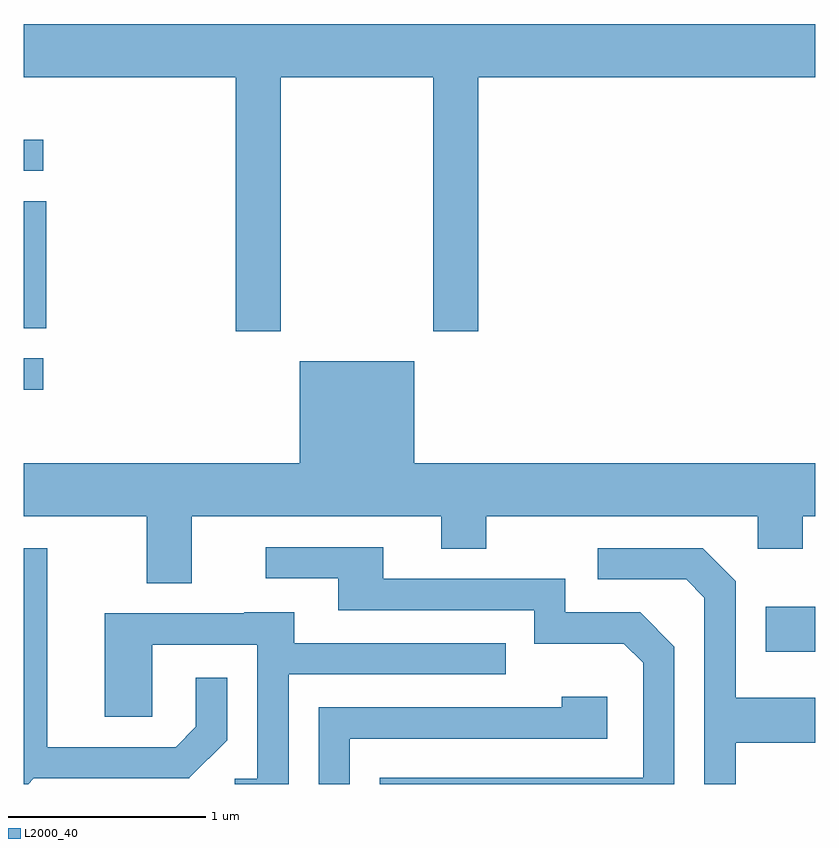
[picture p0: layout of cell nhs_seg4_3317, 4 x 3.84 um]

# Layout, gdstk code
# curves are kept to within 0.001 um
import gdstk
lib = gdstk.Library(unit=1e-6, precision=1e-09)
def R(c, l, rs):  # rectangles x0, y0, x1, y1
    for r in rs: c.add(gdstk.rectangle(r[:2], r[2:], *l))
def P(c, l, *ps):  # polygons
    for p in ps: c.add(gdstk.Polygon(p, *l))
L2000_40 = (2000, 40)

nhs_seg4_3317 = lib.new_cell('nhs_seg4_3317')
R(nhs_seg4_3317, L2000_40, [(285.361,1360.651,285.611,1360.879), (281.611,1361.976,281.708,1362.134), (281.611,1362.286,281.724,1362.929), (281.611,1363.081,281.708,1363.239)])
P(nhs_seg4_3317, L2000_40, [(281.611,1363.556),(282.681,1363.556),(282.681,1362.271),(282.909,1362.271),(282.909,1363.556),(283.681,1363.556),(283.681,1362.271),(283.909,1362.271),(283.909,1363.556),(285.611,1363.556),(285.611,1363.824),(281.611,1363.824)],
  [(282.459,1361.336),(283.721,1361.336),(283.721,1361.171),(283.949,1361.171),(283.949,1361.336),(285.321,1361.336),(285.321,1361.171),(285.549,1361.171),(285.549,1361.336),(285.611,1361.336),(285.611,1361.604),(283.584,1361.604),(283.584,1362.119),(283.006,1362.119),(283.006,1361.604),(281.611,1361.604),(281.611,1361.336),(282.231,1361.336),(282.231,1360.996),(282.459,1360.996)],
  [(284.899,1360.677),(284.727,1360.849),(284.349,1360.849),(284.349,1361.019),(283.429,1361.019),(283.429,1361.179),(282.833,1361.179),(282.833,1361.021),(283.201,1361.021),(283.201,1360.861),(284.191,1360.861),(284.191,1360.691),(284.644,1360.691),(284.741,1360.594),(284.741,1360.014),(283.411,1360.014),(283.411,1359.982),(284.899,1359.982)],
  [(285.209,1360.191),(285.611,1360.191),(285.611,1360.419),(285.209,1360.419),(285.209,1361.007),(285.042,1361.174),(284.513,1361.174),(284.513,1361.016),(284.959,1361.016),(285.051,1360.924),(285.051,1359.982),(285.209,1359.982)],
  [(281.662,1360.011),(282.447,1360.011),(282.639,1360.204),(282.639,1360.518),(282.481,1360.518),(282.481,1360.272),(282.379,1360.169),(281.729,1360.169),(281.729,1361.174),(281.611,1361.174),(281.611,1359.982),(281.633,1359.982)],
  [(282.949,1360.536),(284.048,1360.536),(284.048,1360.694),(282.979,1360.694),(282.979,1360.849),(282.725,1360.849),(282.725,1360.844),(282.021,1360.844),(282.021,1360.321),(282.259,1360.321),(282.259,1360.686),(282.791,1360.686),(282.791,1360.009),(282.678,1360.009),(282.678,1359.982),(282.949,1359.982)],
  [(283.259,1360.211),(284.559,1360.211),(284.559,1360.424),(284.331,1360.424),(284.331,1360.369),(283.101,1360.369),(283.101,1359.982),(283.259,1359.982)])

lib.write_gds('nhs_seg4_3317.gds')
